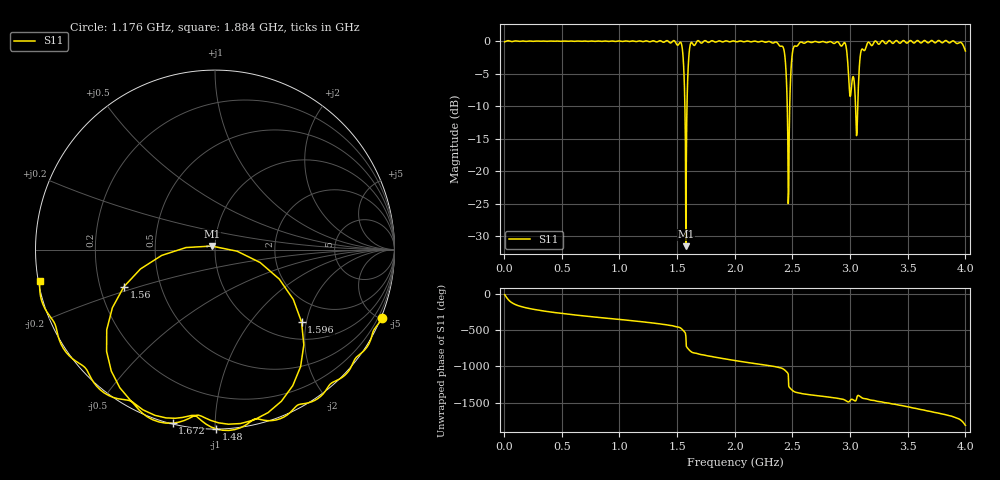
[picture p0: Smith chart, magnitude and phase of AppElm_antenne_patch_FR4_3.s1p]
! TOUCHSTONE file generated by CST MICROWAVE STUDIO
! Date and time: Tue Jun 14 12:12:44 2022
! Project name: AppElm_antenne_patch_FR4.cst
! Parameters = {L=45; W=58.5; e=0.035; h=1.6; lambda=0.190476; ls=120; w0=2.159; w1=0.847; ws=120; y0=18; y1=23.8}
! Header version: 2018
! Port assignment regex: !\s*Touchstone port\s*([0-9]+)\s*=\s*(CST MWS port|CST DS port)\s*([0-9]+|Zmin|Zmax)\s*\(\"(.*)\"\)(\s*mode\s*([0-9]+))?.*
! Touchstone port assignment:
! Touchstone port 1 = CST MWS port 1 ("")
# GHz S MA R 50
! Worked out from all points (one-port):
!   1000 points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, 4 MHz to 4 GHz, reference 50 ohm
!   lowest |S11| = -31.6 dB at 1.576 GHz (marker M1), VSWR 1.05, Z = 48.2 + j1.9 ohm
!   |S11| at or under -10 dB: 1.567 GHz to 1.586 GHz (18.49 MHz wide, 1.17 % of centre); 2.455 GHz to 2.476 GHz (21.49 MHz wide, 0.872 % of centre); 3.047 GHz to 3.066 GHz (19.23 MHz wide, 0.629 % of centre)
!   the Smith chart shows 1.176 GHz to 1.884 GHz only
!   S11 on the Smith chart (normalised r, x): 1.176 GHz: -0.06, -5.05; 1.48 GHz: 0.00, -1.01; 1.56 GHz: 0.30, -0.18; 1.596 GHz: 1.40, -1.87; 1.672 GHz: 0.00, -0.79; 1.884 GHz: 0.00, -0.09
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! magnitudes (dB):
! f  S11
! 4 MHz  -0.1
! 504 MHz  0.0
! 1.004 GHz  0.0
! 1.176 GHz  0.0
! 1.48 GHz  0.0
! 1.504 GHz  -0.6
! 1.54 GHz  -0.6
! 1.56 GHz  -5.2
! 1.576 GHz  -31.6
! 1.596 GHz  -4.0
! 1.604 GHz  -1.9
! 1.616 GHz  -0.4
! 1.672 GHz  0.0
! 1.884 GHz  -0.1
! 2.004 GHz  0.0
! 2.408 GHz  -0.8
! 2.432 GHz  -1.9
! 2.452 GHz  -7.9
! 2.464 GHz  -25.0
! 2.48 GHz  -7.6
! 2.504 GHz  -1.4
! 2.948 GHz  -0.2
! 3.004 GHz  -8.4
! 3.056 GHz  -14.5
! 3.096 GHz  -1.5
! 3.156 GHz  -0.2
! 3.504 GHz  -0.2
! 4 GHz  -1.5
